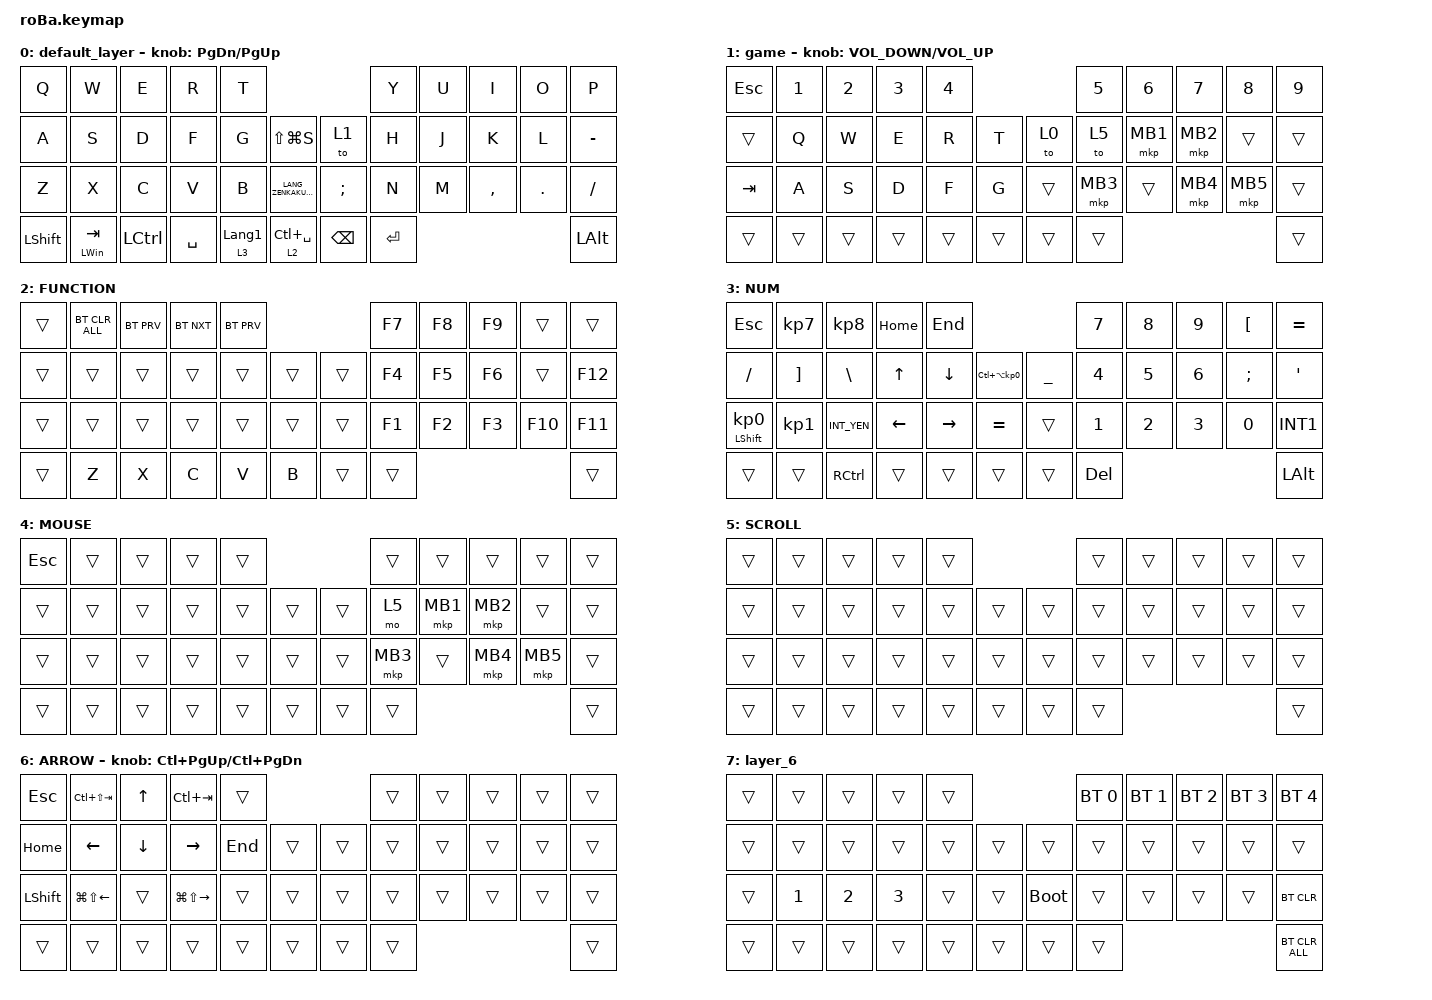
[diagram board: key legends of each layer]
#include <behaviors.dtsi>
#include <dt-bindings/zmk/bt.h>
#include <dt-bindings/zmk/keys.h>
#include <dt-bindings/zmk/pointing.h>

&mt {
    flavor = "balanced";
    quick-tap-ms = <0>;
};

&trackball {
    automouse-layer = <4>;
    scroll-layers = <5>;

    // arrows {
    //     layers = <3>;
    //     bindings =
    //         <&kp RIGHT_ARROW>,
    //         <&kp LEFT_ARROW>,
    //         <&kp UP_ARROW>,
    //         <&kp DOWN_ARROW>;
    //     tick = <10>;
    //     wait-ms = <5>;
    //     tap-ms = <5>;
    // };
};

/ {
    combos {
        compatible = "zmk,combos";

        tab {
            bindings = <&kp TAB>;
            key-positions = <11 12>;
        };

        shift_tab {
            bindings = <&kp LS(TAB)>;
            key-positions = <12 13>;
        };

        muhennkann {
            bindings = <&to_layer_0 INT_MUHENKAN>;
            key-positions = <11 10>;
        };

        double_quotation {
            bindings = <&kp DOUBLE_QUOTES>;
            key-positions = <20 21>;
        };

        eq {
            bindings = <&kp EQUAL>;
            key-positions = <24 25>;
        };
    };

    macros {
        to_layer_0: to_layer_0 {
            compatible = "zmk,behavior-macro-one-param";
            #binding-cells = <1>;
            bindings = <&to 0 &macro_param_1to1 &kp MACRO_PLACEHOLDER>;
            label = "TO_LAYER_0";
        };
    };

    behaviors {
        lt_to_layer_0: lt_to_layer_0 {
            compatible = "zmk,behavior-hold-tap";
            label = "LAYER_TAP_TO_0";
            bindings = <&mo>, <&to_layer_0>;

            #binding-cells = <2>;
            tapping-term-ms = <200>;
        };
    };

    keymap {
        compatible = "zmk,keymap";

        default_layer {
            bindings = <
&kp Q           &kp W             &kp E             &kp R      &kp T                                                         &kp Y      &kp U  &kp I      &kp O    &kp P
&kp A           &kp S             &kp D             &kp F      &kp G             &kp LS(LG(S))                &to 1          &kp H      &kp J  &kp K      &kp L    &kp MINUS
&kp Z           &kp X             &kp C             &kp V      &kp B             &kp LANG_ZENKAKUHANKAKU      &kp SEMICOLON  &kp N      &kp M  &kp COMMA  &kp DOT  &kp SLASH
&kp LEFT_SHIFT  &mt LEFT_WIN TAB  &kp LEFT_CONTROL  &kp SPACE  &lt 3 LANGUAGE_1  &lt 2 LC(SPACE)              &kp BACKSPACE  &kp ENTER                             &kp LEFT_ALT
            >;

            sensor-bindings = <&inc_dec_kp PAGE_DOWN PAGE_UP>;
        };

        game {
            bindings = <
&kp ESCAPE  &kp N1  &kp N2  &kp N3  &kp N4                      &kp N5    &kp N6    &kp N7    &kp N8    &kp N9
&trans      &kp Q   &kp W   &kp E   &kp R   &kp T       &to 0   &to 5     &mkp MB1  &mkp MB2  &trans    &trans
&kp TAB     &kp A   &kp S   &kp D   &kp F   &kp G       &trans  &mkp MB3  &trans    &mkp MB4  &mkp MB5  &trans
&trans      &trans  &trans  &trans  &trans  &trans      &trans  &trans                                  &trans
            >;

            sensor-bindings = <&inc_dec_kp C_VOLUME_DOWN C_VOLUME_UP>;
        };

        FUNCTION {
            bindings = <
&trans  &bt BT_CLR_ALL  &bt BT_PRV  &bt BT_NXT  &bt BT_PRV                      &kp F7  &kp F8  &kp F9  &trans   &trans
&trans  &trans          &trans      &trans      &trans      &trans      &trans  &kp F4  &kp F5  &kp F6  &trans   &kp F12
&trans  &trans          &trans      &trans      &trans      &trans      &trans  &kp F1  &kp F2  &kp F3  &kp F10  &kp F11
&trans  &kp Z           &kp X       &kp C       &kp V       &kp B       &trans  &trans                           &trans
            >;
        };

        NUM {
            bindings = <
&kp ESC                     &kp KP_NUMBER_7    &kp KP_NUMBER_8  &kp HOME        &kp END                                                       &kp N7      &kp N8  &kp N9  &kp LEFT_BRACKET  &kp EQUAL
&kp SLASH                   &kp RIGHT_BRACKET  &kp BACKSLASH    &kp UP_ARROW    &kp DOWN_ARROW   &kp LC(LA(KP_NUMBER_0))      &kp UNDERSCORE  &kp N4      &kp N5  &kp N6  &kp SEMICOLON     &kp SQT
&mt LEFT_SHIFT KP_NUMBER_0  &kp KP_NUMBER_1    &kp INT_YEN      &kp LEFT_ARROW  &kp RIGHT_ARROW  &kp EQUAL                    &trans          &kp N1      &kp N2  &kp N3  &kp N0            &kp INT1
&trans                      &trans             &kp RCTRL        &trans          &trans           &trans                       &trans          &kp DELETE                                    &kp LEFT_ALT
            >;
        };

        MOUSE {
            bindings = <
&kp ESC  &trans  &trans  &trans  &trans                      &trans    &trans    &trans    &trans    &trans
&trans   &trans  &trans  &trans  &trans  &trans      &trans  &mo 5     &mkp MB1  &mkp MB2  &trans    &trans
&trans   &trans  &trans  &trans  &trans  &trans      &trans  &mkp MB3  &trans    &mkp MB4  &mkp MB5  &trans
&trans   &trans  &trans  &trans  &trans  &trans      &trans  &trans                                  &trans
            >;
        };

        SCROLL {
            bindings = <
&trans  &trans  &trans  &trans  &trans                      &trans  &trans  &trans  &trans  &trans
&trans  &trans  &trans  &trans  &trans  &trans      &trans  &trans  &trans  &trans  &trans  &trans
&trans  &trans  &trans  &trans  &trans  &trans      &trans  &trans  &trans  &trans  &trans  &trans
&trans  &trans  &trans  &trans  &trans  &trans      &trans  &trans                          &trans
            >;
        };

        ARROW {
            bindings = <
&kp ESCAPE      &kp LC(LS(TAB))         &kp UP_ARROW    &kp LC(TAB)              &trans                       &trans  &trans  &trans  &trans  &trans
&kp HOME        &kp LEFT_ARROW          &kp DOWN_ARROW  &kp RIGHT_ARROW          &kp END  &trans      &trans  &trans  &trans  &trans  &trans  &trans
&kp LEFT_SHIFT  &kp LG(LS(LEFT_ARROW))  &trans          &kp LG(LS(RIGHT_ARROW))  &trans   &trans      &trans  &trans  &trans  &trans  &trans  &trans
&trans          &trans                  &trans          &trans                   &trans   &trans      &trans  &trans                          &trans
            >;

            sensor-bindings = <&inc_dec_kp LC(PAGE_UP) LC(PAGE_DOWN)>;
        };

        layer_6 {
            bindings = <
&trans  &trans        &trans        &trans        &trans                           &bt BT_SEL 0  &bt BT_SEL 1  &bt BT_SEL 2  &bt BT_SEL 3  &bt BT_SEL 4
&trans  &trans        &trans        &trans        &trans  &trans      &trans       &trans        &trans        &trans        &trans        &trans
&trans  &kp NUMBER_1  &kp NUMBER_2  &kp NUMBER_3  &trans  &trans      &bootloader  &trans        &trans        &trans        &trans        &bt BT_CLR
&trans  &trans        &trans        &trans        &trans  &trans      &trans       &trans                                                  &bt BT_CLR_ALL
            >;
        };
    };
};
